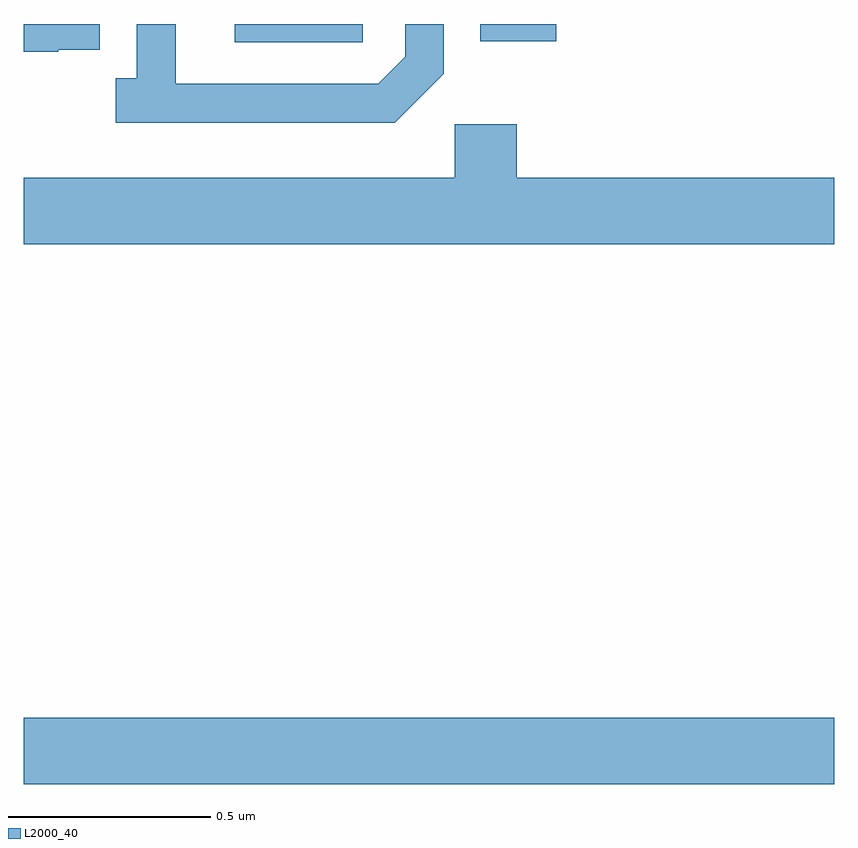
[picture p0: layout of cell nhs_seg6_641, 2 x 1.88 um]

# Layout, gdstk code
import gdstk
lib = gdstk.Library(unit=1e-6, precision=1e-09)
def R(c, l, rs):  # rectangles x0, y0, x1, y1
    for r in rs: c.add(gdstk.rectangle(r[:2], r[2:], *l))
def P(c, l, *ps):  # polygons
    for p in ps: c.add(gdstk.Polygon(p, *l))
L2000_40 = (2000, 40)

nhs_seg6_641 = lib.new_cell('nhs_seg6_641')
R(nhs_seg6_641, L2000_40, [(118,992.624,120,992.788), (118.521,994.455,118.836,994.5), (119.126,994.457,119.314,994.5)])
P(nhs_seg6_641, L2000_40, [(119.037,994.377),(119.037,994.5),(118.941,994.5),(118.941,994.419),(118.875,994.353),(118.375,994.353),(118.375,994.5),(118.278,994.5),(118.278,994.366),(118.227,994.366),(118.227,994.256),(118.916,994.256)],
  [(118.085,994.437),(118.187,994.437),(118.187,994.5),(118,994.5),(118,994.431),(118.085,994.431)],
  [(120,994.12),(119.216,994.12),(119.216,994.252),(119.064,994.252),(119.064,994.12),(118,994.12),(118,993.956),(120,993.956)])

lib.write_gds('nhs_seg6_641.gds')
